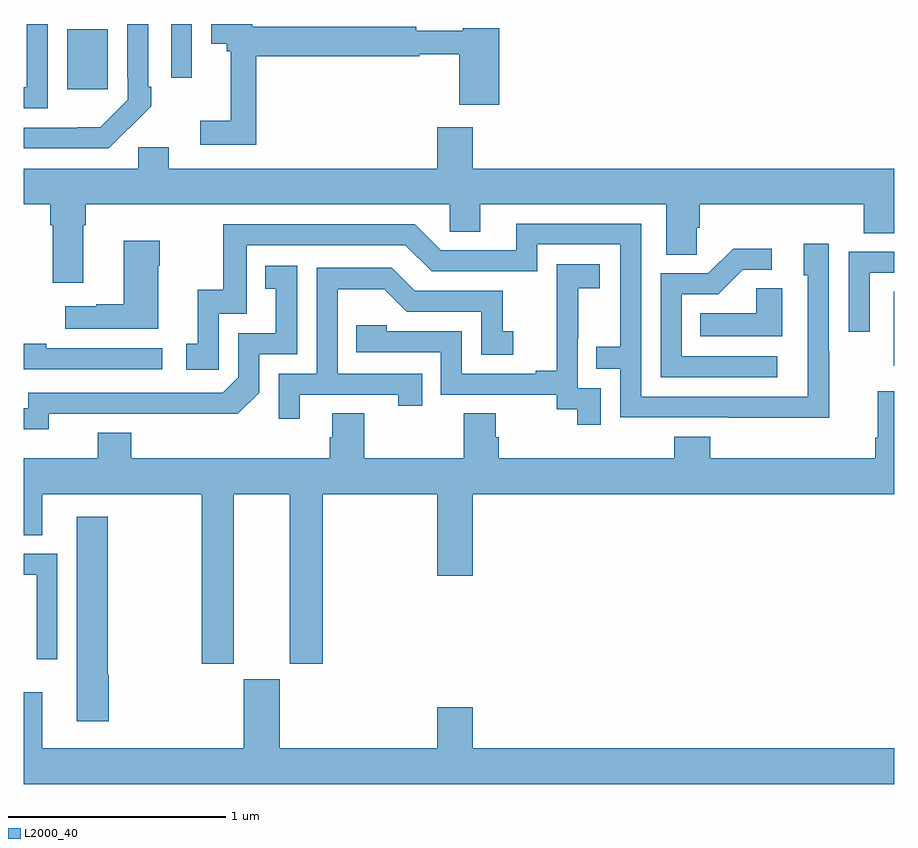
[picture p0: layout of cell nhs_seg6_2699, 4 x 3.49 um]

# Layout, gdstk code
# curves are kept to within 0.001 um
import gdstk
lib = gdstk.Library(unit=1e-6, precision=1e-09)
def R(c, l, rs):  # rectangles x0, y0, x1, y1
    for r in rs: c.add(gdstk.rectangle(r[:2], r[2:], *l))
def P(c, l, *ps):  # polygons
    for p in ps: c.add(gdstk.Polygon(p, *l))
L2000_40 = (2000, 40)

nhs_seg6_2699 = lib.new_cell('nhs_seg6_2699')
R(nhs_seg6_2699, L2000_40, [(274.997,943.929,275,944.269), (271.199,945.201,271.387,945.475), (271.677,945.252,271.773,945.5)])
P(nhs_seg6_2699, L2000_40, [(272.069,945.352),(272.818,945.352),(272.818,945.36),(273.002,945.36),(273.002,945.129),(273.185,945.129),(273.185,945.481),(273.018,945.481),(273.018,945.469),(272.804,945.469),(272.804,945.488),(272.05,945.488),(272.05,945.5),(271.862,945.5),(271.862,945.41),(271.934,945.41),(271.934,945.375),(271.952,945.375),(271.952,945.055),(271.812,945.055),(271.812,944.946),(272.069,944.946)],
  [(271.11,945.5),(271.014,945.5),(271.014,945.21),(271,945.21),(271,945.114),(271.11,945.114)],
  [(271.481,945.019),(271.482,945.018),(271.587,945.123),(271.587,945.211),(271.572,945.211),(271.572,945.5),(271.476,945.5),(271.476,945.253),(271.479,945.253),(271.479,945.153),(271.351,945.025),(271,945.024),(271,944.928),(271.39,944.928)],
  [(271.273,944.576),(271.286,944.576),(271.286,944.672),(272.958,944.672),(272.958,944.545),(273.097,944.545),(273.097,944.672),(273.953,944.672),(273.953,944.44),(274.092,944.44),(274.092,944.563),(274.106,944.563),(274.106,944.672),(274.859,944.672),(274.859,944.539),(275,944.539),(275,944.836),(273.064,944.836),(273.064,945.025),(272.9,945.025),(272.9,944.836),(271.666,944.836),(271.666,944.934),(271.527,944.934),(271.527,944.836),(271,944.836),(271,944.672),(271.121,944.672),(271.121,944.576),(271.133,944.576),(271.133,944.31),(271.273,944.31)],
  [(274.701,943.997),(274.698,943.997),(274.698,944.491),(274.583,944.491),(274.583,944.346),(274.602,944.346),(274.602,943.788),(273.837,943.788),(273.837,944.583),(273.263,944.583),(273.263,944.46),(272.916,944.46),(272.796,944.58),(271.917,944.58),(271.917,944.278),(271.799,944.278),(271.799,944.031),(271.746,944.031),(271.746,943.911),(271.896,943.911),(271.896,944.169),(272.025,944.169),(272.025,944.484),(272.754,944.484),(272.874,944.364),(273.36,944.364),(273.36,944.487),(273.741,944.487),(273.741,944.018),(273.631,944.018),(273.631,943.917),(273.741,943.917),(273.741,943.692),(274.701,943.691)],
  [(271.618,944.39),(271.626,944.39),(271.626,944.503),(271.46,944.503),(271.46,944.213),(271.334,944.213),(271.334,944.203),(271.191,944.203),(271.191,944.099),(271.618,944.099)],
  [(274.462,943.974),(274.023,943.974),(274.023,944.259),(274.192,944.259),(274.303,944.37),(274.438,944.37),(274.438,944.468),(274.259,944.468),(274.146,944.355),(273.927,944.355),(273.927,943.878),(274.462,943.878)],
  [(274.887,944.358),(275,944.358),(275,944.454),(274.791,944.454),(274.791,944.085),(274.887,944.085)],
  [(273.651,943.827),(273.546,943.827),(273.546,944.057),(273.548,944.057),(273.548,944.285),(273.646,944.285),(273.646,944.395),(273.448,944.395),(273.448,944.189),(273.449,944.189),(273.449,943.906),(273.353,943.906),(273.353,943.893),(273.012,943.893),(273.012,944.088),(272.667,944.088),(272.667,944.115),(272.527,944.115),(272.527,943.992),(272.916,943.992),(272.916,943.797),(273.45,943.797),(273.45,943.729),(273.543,943.729),(273.543,943.659),(273.651,943.659)],
  [(271.116,943.71),(271.984,943.709),(272.082,943.806),(272.082,943.983),(272.256,943.983),(272.256,944.389),(272.11,944.389),(272.11,944.283),(272.159,944.283),(272.159,944.079),(271.986,944.079),(271.986,943.878),(271.914,943.806),(271.02,943.806),(271.02,943.734),(271,943.734),(271,943.637),(271.116,943.637)],
  [(272.269,943.797),(272.72,943.797),(272.72,943.746),(272.831,943.746),(272.831,943.893),(272.442,943.893),(272.442,944.282),(272.656,944.282),(272.76,944.178),(273.102,944.178),(273.102,943.98),(273.25,943.98),(273.25,944.089),(273.201,944.089),(273.201,944.274),(272.797,944.274),(272.692,944.379),(272.346,944.379),(272.346,943.893),(272.172,943.893),(272.172,943.686),(272.269,943.686)],
  [(274.486,944.285),(274.365,944.285),(274.365,944.17),(274.108,944.17),(274.108,944.066),(274.486,944.066)],
  [(271.636,944.01),(271.103,944.01),(271.103,944.03),(271,944.03),(271,943.914),(271.636,943.914)],
  [(271.966,943.34),(272.222,943.34),(272.222,942.561),(272.375,942.561),(272.375,943.34),(272.9,943.34),(272.9,942.966),(273.064,942.966),(273.064,943.34),(275,943.34),(275,943.813),(274.925,943.813),(274.925,943.6),(274.913,943.6),(274.913,943.504),(274.154,943.504),(274.154,943.603),(273.989,943.603),(273.989,943.504),(273.182,943.504),(273.182,943.602),(273.169,943.602),(273.169,943.712),(273.022,943.712),(273.022,943.504),(272.565,943.504),(272.565,943.712),(272.417,943.712),(272.417,943.602),(272.405,943.602),(272.405,943.504),(271.493,943.504),(271.493,943.621),(271.34,943.621),(271.34,943.504),(271,943.504),(271,943.15),(271.084,943.15),(271.084,943.34),(271.819,943.34),(271.819,942.561),(271.966,942.561)],
  [(271.391,942.509),(271.386,942.509),(271.386,943.237),(271.244,943.237),(271.244,942.297),(271.391,942.297)],
  [(271.155,943.065),(271,943.065),(271,942.969),(271.059,942.969),(271.059,942.582),(271.155,942.582)],
  [(275,942.172),(273.064,942.172),(273.064,942.361),(272.9,942.361),(272.9,942.172),(272.176,942.172),(272.176,942.489),(272.012,942.489),(272.012,942.172),(271.084,942.172),(271.084,942.43),(271,942.43),(271,942.008),(275,942.008)])

lib.write_gds('nhs_seg6_2699.gds')
